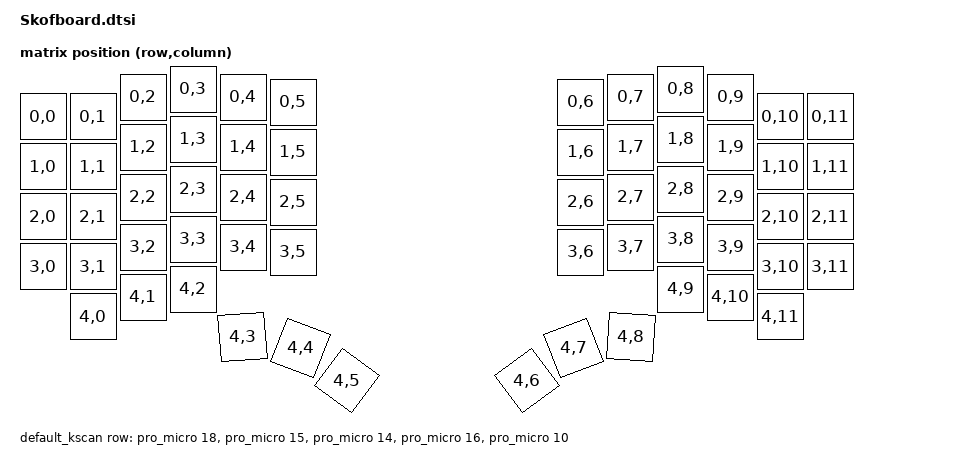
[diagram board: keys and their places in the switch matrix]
#include <dt-bindings/zmk/matrix_transform.h>
#include <physical_layouts.dtsi>

/ {
    default_kscan: kscan {
        compatible = "zmk,kscan-gpio-matrix";
        label = "default_kscan";
        wakeup-source;
        diode-direction = "col2row";

        row-gpios
            = <&pro_micro 18 (GPIO_ACTIVE_HIGH | GPIO_PULL_DOWN)> 
            , <&pro_micro 15 (GPIO_ACTIVE_HIGH | GPIO_PULL_DOWN)>
            , <&pro_micro 14 (GPIO_ACTIVE_HIGH | GPIO_PULL_DOWN)>
            , <&pro_micro 16 (GPIO_ACTIVE_HIGH | GPIO_PULL_DOWN)>
            , <&pro_micro 10 (GPIO_ACTIVE_HIGH | GPIO_PULL_DOWN)>
            ;
    };

    
    default_transform: matrix_transform {
        compatible = "zmk,matrix-transform";
        columns = <12>;
        rows = <5>;
        map = <
        RC(0,0) RC(0,1) RC(0,2) RC(0,3) RC(0,4) RC(0,5) RC(0,6) RC(0,7) RC(0,8) RC(0,9) RC(0,10) RC(0,11)
        RC(1,0) RC(1,1) RC(1,2) RC(1,3) RC(1,4) RC(1,5) RC(1,6) RC(1,7) RC(1,8) RC(1,9) RC(1,10) RC(1,11)
        RC(2,0) RC(2,1) RC(2,2) RC(2,3) RC(2,4) RC(2,5) RC(2,6) RC(2,7) RC(2,8) RC(2,9) RC(2,10) RC(2,11)
        RC(3,0) RC(3,1) RC(3,2) RC(3,3) RC(3,4) RC(3,5) RC(3,6) RC(3,7) RC(3,8) RC(3,9) RC(3,10) RC(3,11)
        RC(4,0) RC(4,1) RC(4,2) RC(4,3) RC(4,4) RC(4,5) RC(4,6) RC(4,7) RC(4,8) RC(4,9) RC(4,10) RC(4,11)
        >;
    };


    physical_layout0: physical_layout_0 {
        compatible = "zmk,physical-layout";
        display-name = "Default Layout";
        transform = <&default_transform>;
        kscan = <&default_kscan>;

        keys  //                            w   h      x      y      rot     rx     ry
            // Row 1 - nums
              = <&key_physical_attrs 100 100      0     55        0      0      0>
              , <&key_physical_attrs 100 100    100     55        0      0      0>
              , <&key_physical_attrs 100 100    200     16        0      0      0>
              , <&key_physical_attrs 100 100    300      0        0      0      0>
              , <&key_physical_attrs 100 100    400     16        0      0      0>
              , <&key_physical_attrs 100 100    500     26        0      0      0>
              , <&key_physical_attrs 100 100   1075     26        0      0      0>
              , <&key_physical_attrs 100 100   1175     16        0      0      0>
              , <&key_physical_attrs 100 100   1275      0        0      0      0>
              , <&key_physical_attrs 100 100   1375     16        0      0      0>
              , <&key_physical_attrs 100 100   1475     55        0      0      0>
              , <&key_physical_attrs 100 100   1575     55        0      0      0>
            // Row 2 - num
              , <&key_physical_attrs 100 100      0    155        0      0      0>
              , <&key_physical_attrs 100 100    100    155        0      0      0>
              , <&key_physical_attrs 100 100    200    116        0      0      0>
              , <&key_physical_attrs 100 100    300    100        0      0      0>
              , <&key_physical_attrs 100 100    400    116        0      0      0>
              , <&key_physical_attrs 100 100    500    126        0      0      0>
              , <&key_physical_attrs 100 100   1075    126        0      0      0>
              , <&key_physical_attrs 100 100   1175    116        0      0      0>
              , <&key_physical_attrs 100 100   1275    100        0      0      0>
              , <&key_physical_attrs 100 100   1375    116        0      0      0>
              , <&key_physical_attrs 100 100   1475    155        0      0      0>
              , <&key_physical_attrs 100 100   1575    155        0      0      0>
            // Row 3 - top
              , <&key_physical_attrs 100 100      0    255        0      0      0>
              , <&key_physical_attrs 100 100    100    255        0      0      0>
              , <&key_physical_attrs 100 100    200    216        0      0      0>
              , <&key_physical_attrs 100 100    300    200        0      0      0>
              , <&key_physical_attrs 100 100    400    216        0      0      0>
              , <&key_physical_attrs 100 100    500    226        0      0      0>
              , <&key_physical_attrs 100 100   1075    226        0      0      0>
              , <&key_physical_attrs 100 100   1175    216        0      0      0>
              , <&key_physical_attrs 100 100   1275    200        0      0      0>
              , <&key_physical_attrs 100 100   1375    216        0      0      0>
              , <&key_physical_attrs 100 100   1475    255        0      0      0>
              , <&key_physical_attrs 100 100   1575    255        0      0      0>
            // Row 4 - home
              , <&key_physical_attrs 100 100      0    355        0      0      0>
              , <&key_physical_attrs 100 100    100    355        0      0      0>
              , <&key_physical_attrs 100 100    200    316        0      0      0>
              , <&key_physical_attrs 100 100    300    300        0      0      0>
              , <&key_physical_attrs 100 100    400    316        0      0      0>
              , <&key_physical_attrs 100 100    500    326        0      0      0>
              , <&key_physical_attrs 100 100   1075    326        0      0      0>
              , <&key_physical_attrs 100 100   1175    316        0      0      0>
              , <&key_physical_attrs 100 100   1275    300        0      0      0>
              , <&key_physical_attrs 100 100   1375    316        0      0      0>
              , <&key_physical_attrs 100 100   1475    355        0      0      0>
              , <&key_physical_attrs 100 100   1575    355        0      0      0>
            // Row 5 - bottom + thumbs
              , <&key_physical_attrs 100 100    100    455        0      0      0>
              , <&key_physical_attrs 100 100    200    416        0      0      0>
              , <&key_physical_attrs 100 100    300    400        0      0      0>
              , <&key_physical_attrs 100 100    399    496   (-400)    449    546>
              , <&key_physical_attrs 100 100    515    518     2100    565    568>
              , <&key_physical_attrs 100 100    608    583     3700    658    633>
              , <&key_physical_attrs 100 100    968    583  (-3700)   1018    633>
              , <&key_physical_attrs 100 100   1061    518  (-2100)   1111    568>
              , <&key_physical_attrs 100 100   1176    496      400   1226    546>
              , <&key_physical_attrs 100 100   1275    400        0      0      0>
              , <&key_physical_attrs 100 100   1375    416        0      0      0>
              , <&key_physical_attrs 100 100   1475    455        0      0      0>
            ;
    };

    chosen {
        zmk,kscan = &default_kscan;
        zmk,physical-layout = &physical_layout0;
    };
};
